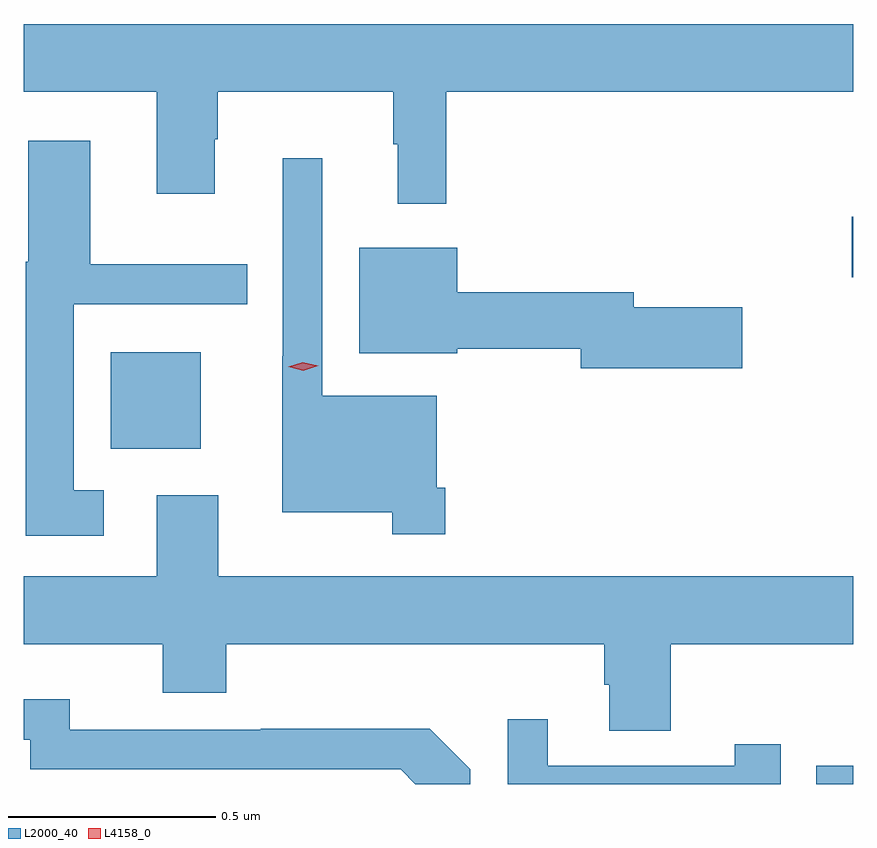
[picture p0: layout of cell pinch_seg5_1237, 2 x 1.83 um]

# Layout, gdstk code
import gdstk
lib = gdstk.Library(unit=1e-6, precision=1e-09)
def R(c, l, rs):  # rectangles x0, y0, x1, y1
    for r in rs: c.add(gdstk.rectangle(r[:2], r[2:], *l))
def P(c, l, *ps):  # polygons
    for p in ps: c.add(gdstk.Polygon(p, *l))
L2000_40 = (2000, 40)
L4158_0 = (4158, 0)

pinch_seg5_1237 = lib.new_cell('pinch_seg5_1237')
R(pinch_seg5_1237, L2000_40, [(523.998,887.059,524.087,887.103), (522.296,887.867,522.514,888.1), (524.084,888.281,524.087,888.427)])
P(pinch_seg5_1237, L2000_40, [(523.106,888.728),(524.087,888.728),(524.087,888.892),(522.087,888.892),(522.087,888.728),(522.407,888.728),(522.407,888.483),(522.547,888.483),(522.547,888.614),(522.555,888.614),(522.555,888.728),(522.978,888.728),(522.978,888.602),(522.989,888.602),(522.989,888.459),(523.106,888.459)],
  [(522.28,887.767),(522.207,887.767),(522.207,888.216),(522.626,888.216),(522.626,888.313),(522.247,888.313),(522.247,888.61),(522.098,888.61),(522.098,888.319),(522.091,888.319),(522.091,887.658),(522.28,887.658)],
  [(523.103,887.773),(523.083,887.773),(523.083,887.995),(522.807,887.995),(522.807,888.568),(522.711,888.568),(522.711,888.091),(522.71,888.091),(522.71,887.714),(522.975,887.714),(522.975,887.661),(523.103,887.661)],
  [(523.819,888.209),(523.558,888.209),(523.558,888.245),(523.132,888.245),(523.132,888.352),(522.896,888.352),(522.896,888.098),(523.132,888.098),(523.132,888.109),(523.43,888.109),(523.43,888.062),(523.819,888.062)],
  [(523.647,887.396),(524.087,887.396),(524.087,887.56),(522.556,887.56),(522.556,887.755),(522.407,887.755),(522.407,887.56),(522.087,887.56),(522.087,887.396),(522.422,887.396),(522.422,887.279),(522.575,887.279),(522.575,887.396),(523.487,887.396),(523.487,887.298),(523.499,887.298),(523.499,887.188),(523.647,887.188)],
  [(523.164,887.094),(523.066,887.192),(522.658,887.192),(522.658,887.19),(522.198,887.19),(522.198,887.263),(522.087,887.263),(522.087,887.166),(522.102,887.166),(522.102,887.094),(522.996,887.094),(523.031,887.059),(523.164,887.059)],
  [(523.913,887.155),(523.802,887.155),(523.802,887.103),(523.351,887.103),(523.351,887.215),(523.254,887.215),(523.254,887.059),(523.913,887.059)])
P(pinch_seg5_1237, L4158_0, [(522.761,888.056),(522.725,888.065),(522.725,888.065),(522.725,888.065),(522.76,888.076),(522.797,888.068),(522.797,888.068),(522.797,888.068)])

lib.write_gds('pinch_seg5_1237.gds')
